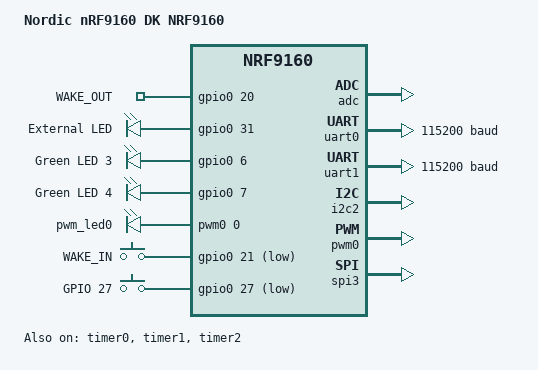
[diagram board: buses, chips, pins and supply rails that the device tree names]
/*
 * Copyright (c) 2018-2020 Nordic Semiconductor ASA
 *
 * SPDX-License-Identifier: Apache-2.0
 */
#include "scm-ltem1nrf_nrf9160_common-pinctrl.dtsi"

/ {
	model = "Nordic nRF9160 DK NRF9160";
	compatible = "nordic,nrf9160-dk-nrf9160";

	chosen {
		zephyr,console = &uart0;
		zephyr,shell-uart = &uart0;
		zephyr,uart-mcumgr = &uart0;
	};

	leds {
		compatible = "gpio-leds";
		led0: led_0 {
			gpios = <&gpio0 20 0>;
			label = "WAKE_OUT";
		};
		led1: led_1 {
			gpios = <&gpio0 31 0>;
			label = "External LED";
		};
		led2: led_2 {
			gpios = <&gpio0 6 0>;
			label = "Green LED 3";
		};
		led3: led_3 {
			gpios = <&gpio0 7 0>;
			label = "Green LED 4";
		};
	};

	pwmleds {
		compatible = "pwm-leds";
		pwm_led0: pwm_led_0 {
			pwms = <&pwm0 0 PWM_MSEC(20) PWM_POLARITY_NORMAL>;
		};
	};

	buttons {
		compatible = "gpio-keys";
		button0: button_0 {
			gpios = <&gpio0 21 (GPIO_PULL_UP | GPIO_ACTIVE_LOW)>;
			label = "WAKE_IN";
		};
		button1: button_1 {
			gpios = <&gpio0 27 (GPIO_PULL_UP | GPIO_ACTIVE_LOW)>;
			label = "GPIO 27";
		};
	};

	/* These aliases are provided for compatibility with samples */
	aliases {
		led0 = &led0;
		led1 = &led1;
		led2 = &led2;
		led3 = &led3;
		pwm-led0 = &pwm_led0;
		sw0 = &button0;
		sw1 = &button1;
		bootloader-led0 = &led0;
		mcuboot-button0 = &button0;
		mcuboot-led0 = &led2;
		watchdog0 = &wdt0;
	};
};

&adc {
	status = "okay";
};

&gpiote {
	status = "okay";
};

&gpio0 {
	status = "okay";
};

&uart0 {
	status = "okay";
	current-speed = <115200>;
	pinctrl-0 = <&uart0_default>;
	pinctrl-1 = <&uart0_sleep>;
	pinctrl-names = "default", "sleep";
};

&uart1 {
	status = "okay";
	current-speed = <115200>;
	pinctrl-0 = <&uart1_default>;
	pinctrl-1 = <&uart1_sleep>;
	pinctrl-names = "default", "sleep";
};

&i2c2 {
	compatible = "nordic,nrf-twim";
	status = "okay";
	pinctrl-0 = <&i2c2_default>;
	pinctrl-1 = <&i2c2_sleep>;
	pinctrl-names = "default", "sleep";
};

&pwm0 {
	status = "okay";
	pinctrl-0 = <&pwm0_default>;
	pinctrl-1 = <&pwm0_sleep>;
	pinctrl-names = "default", "sleep";
};

&spi3 {
	compatible = "nordic,nrf-spim";
	status = "okay";
	cs-gpios = <&gpio0 4 GPIO_ACTIVE_LOW>;
	pinctrl-0 = <&spi3_default>;
	pinctrl-1 = <&spi3_sleep>;
	pinctrl-names = "default", "sleep";
};

&timer0 {
	status = "okay";
};

&timer1 {
	status = "okay";
};

&timer2 {
	status = "okay";
};

&flash0 {

	partitions {
		compatible = "fixed-partitions";
		#address-cells = <1>;
		#size-cells = <1>;

		boot_partition: partition@0 {
			label = "mcuboot";
			reg = <0x00000000 0x10000>;
		};
		slot0_partition: partition@10000 {
			label = "image-0";
		};
		slot0_ns_partition: partition@50000 {
			label = "image-0-nonsecure";
		};
		slot1_partition: partition@80000 {
			label = "image-1";
		};
		slot1_ns_partition: partition@c0000 {
			label = "image-1-nonsecure";
		};
		scratch_partition: partition@f0000 {
			label = "image-scratch";
			reg = <0x000f0000 0xa000>;
		};
		storage_partition: partition@fa000 {
			label = "storage";
			reg = <0x000fa000 0x00006000>;
		};
	};
};

/ {

	reserved-memory {
		#address-cells = <1>;
		#size-cells = <1>;
		ranges;

		sram0_s: image_s@20000000 {
			/* Secure image memory */
		};

		sram0_modem: image_modem@20016000 {
			/* Modem (shared) memory */
		};

		sram0_ns: image_ns@20020000 {
			/* Non-Secure image memory */
		};
	};
};

/* Include partition configuration file */
#include "scm-ltem1nrf_nrf9160_partition_conf.dts"
